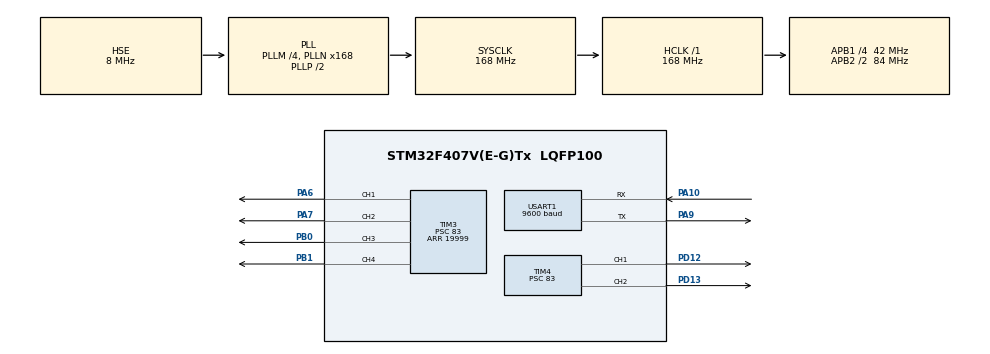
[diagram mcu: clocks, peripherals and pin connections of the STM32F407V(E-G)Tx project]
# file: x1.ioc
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Dma.Request0=USART1_RX
Dma.Request1=USART1_TX
Dma.USART1_RX.0.Direction=DMA_PERIPH_TO_MEMORY
Dma.USART1_RX.0.FIFOMode=DMA_FIFOMODE_DISABLE
Dma.USART1_RX.0.Instance=DMA2_Stream2
Dma.USART1_RX.0.MemDataAlignment=DMA_MDATAALIGN_BYTE
Dma.USART1_RX.0.MemInc=DMA_MINC_ENABLE
Dma.USART1_RX.0.Mode=DMA_CIRCULAR
Dma.USART1_RX.0.PeriphDataAlignment=DMA_PDATAALIGN_BYTE
Dma.USART1_RX.0.PeriphInc=DMA_PINC_DISABLE
Dma.USART1_RX.0.Priority=DMA_PRIORITY_MEDIUM
Dma.USART1_TX.1.Direction=DMA_MEMORY_TO_PERIPH
Dma.USART1_TX.1.FIFOMode=DMA_FIFOMODE_DISABLE
Dma.USART1_TX.1.Instance=DMA2_Stream7
Dma.USART1_TX.1.MemDataAlignment=DMA_MDATAALIGN_BYTE
Dma.USART1_TX.1.MemInc=DMA_MINC_ENABLE
Dma.USART1_TX.1.Mode=DMA_NORMAL
Dma.USART1_TX.1.PeriphDataAlignment=DMA_PDATAALIGN_BYTE
Dma.USART1_TX.1.PeriphInc=DMA_PINC_DISABLE
Dma.USART1_TX.1.Priority=DMA_PRIORITY_LOW
Mcu.Family=STM32F4
Mcu.Name=STM32F407V(E-G)Tx
Mcu.Package=LQFP100
NVIC.DMA2_Stream2_IRQn=true\:0\:0\:false\:false\:true\:false\:true
NVIC.DMA2_Stream7_IRQn=true\:0\:0\:false\:false\:true\:false\:true
NVIC.PriorityGroup=NVIC_PRIORITYGROUP_4
NVIC.USART1_IRQn=true\:0\:0\:false\:false\:true\:true\:true
PA10.Mode=Asynchronous
PA10.Signal=USART1_RX
PA13.Mode=JTAG_5_pins
PA13.Signal=SYS_JTMS-SWDIO
PA14.Mode=JTAG_5_pins
PA14.Signal=SYS_JTCK-SWCLK
PA15.Mode=JTAG_5_pins
PA15.Signal=SYS_JTDI
PA6.Signal=S_TIM3_CH1
PA7.Signal=S_TIM3_CH2
PA9.Mode=Asynchronous
PA9.Signal=USART1_TX
PB0.Signal=S_TIM3_CH3
PB1.Signal=S_TIM3_CH4
PB3.Mode=JTAG_5_pins
PB3.Signal=SYS_JTDO-SWO
PB4.Mode=JTAG_5_pins
PB4.Signal=SYS_JTRST
PD12.Signal=S_TIM4_CH1
PD13.Signal=S_TIM4_CH2
PH0-OSC_IN.Mode=HSE-External-Oscillator
PH0-OSC_IN.Signal=RCC_OSC_IN
PH1-OSC_OUT.Mode=HSE-External-Oscillator
PH1-OSC_OUT.Signal=RCC_OSC_OUT
ProjectManager.HeapSize=0x200
ProjectManager.StackSize=0x400
ProjectManager.TargetToolchain=MDK-ARM V5.27
RCC.48MHZClocksFreq_Value=84000000
RCC.AHBFreq_Value=168000000
RCC.APB1CLKDivider=RCC_HCLK_DIV4
RCC.APB1Freq_Value=42000000
RCC.APB1TimFreq_Value=84000000
RCC.APB2CLKDivider=RCC_HCLK_DIV2
RCC.APB2Freq_Value=84000000
RCC.APB2TimFreq_Value=168000000
RCC.CortexFreq_Value=168000000
RCC.HCLKFreq_Value=168000000
RCC.HSE_VALUE=8000000
RCC.HSI_VALUE=16000000
RCC.LSE_VALUE=32768
RCC.PLLM=4
RCC.PLLN=168
RCC.PLLSourceVirtual=RCC_PLLSOURCE_HSE
RCC.SYSCLKFreq_VALUE=168000000
RCC.SYSCLKSource=RCC_SYSCLKSOURCE_PLLCLK
RCC.VCOOutputFreq_Value=336000000
SH.S_TIM3_CH1.0=TIM3_CH1,PWM Generation1 CH1
SH.S_TIM3_CH2.0=TIM3_CH2,PWM Generation2 CH2
SH.S_TIM3_CH3.0=TIM3_CH3,PWM Generation3 CH3
SH.S_TIM3_CH4.0=TIM3_CH4,PWM Generation4 CH4
SH.S_TIM4_CH1.0=TIM4_CH1,PWM Generation1 CH1
SH.S_TIM4_CH2.0=TIM4_CH2,PWM Generation2 CH2
TIM3.Channel-PWM\ Generation1\ CH1=TIM_CHANNEL_1
TIM3.Channel-PWM\ Generation2\ CH2=TIM_CHANNEL_2
TIM3.Channel-PWM\ Generation3\ CH3=TIM_CHANNEL_3
TIM3.Channel-PWM\ Generation4\ CH4=TIM_CHANNEL_4
TIM3.Period=19999
TIM3.Prescaler=83
TIM4.Channel-PWM\ Generation1\ CH1=TIM_CHANNEL_1
TIM4.Channel-PWM\ Generation2\ CH2=TIM_CHANNEL_2
TIM4.Period=19999
TIM4.Prescaler=83
USART1.BaudRate=9600
USART1.VirtualMode=VM_ASYNC
VP_TIM3_VS_ClockSourceINT.Mode=Internal
VP_TIM4_VS_ClockSourceINT.Mode=Internal
board=custom

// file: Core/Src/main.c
/* USER CODE BEGIN Header */
/**
  ******************************************************************************
  * @file           : main.c
  * @brief          : Main program body
  ******************************************************************************
  * @attention
  *
  * <h2><center>&copy; Copyright (c) 2021 STMicroelectronics.
  * All rights reserved.</center></h2>
  *
  * This software component is licensed by ST under BSD 3-Clause license,
  * the "License"; You may not use this file except in compliance with the
  * License. You may obtain a copy of the License at:
  *                        opensource.org/licenses/BSD-3-Clause
  *
  ******************************************************************************
  */
/* USER CODE END Header */
#include "main.h"
#include "dma.h"
#include "tim.h"
#include "usart.h"
#include "gpio.h"

void SystemClock_Config(void);

int main(void)
{
  /* USER CODE BEGIN 1 */
  uint8_t *str="test uart1 transmit dma!\r\n";
uint8_t *str1="again test uart1 transmit dma!\r\n";
	unsigned char test_buf[400];
	uint16_t datalen=0;
  /* USER CODE END 1 */

  /* MCU Configuration--------------------------------------------------------*/

  /* Reset of all peripherals, Initializes the Flash interface and the Systick. */
  HAL_Init();

  /* Configure the system clock */
  SystemClock_Config();

  /* Initialize all configured peripherals */
  MX_GPIO_Init();
  MX_DMA_Init();
  MX_USART1_UART_Init();
  MX_TIM3_Init();
  MX_TIM4_Init();
  /* USER CODE BEGIN 2 */

		__HAL_UART_ENABLE_IT(&huart1, UART_IT_IDLE);
	 HAL_UART_Receive_DMA(&huart1, (uint8_t*)uart1_rx_buf, USART1_RX_BUF_SIZE);

	HAL_TIM_PWM_Start(&htim3,TIM_CHANNEL_1);
	HAL_TIM_PWM_Start(&htim3,TIM_CHANNEL_2);
	HAL_TIM_PWM_Start(&htim3,TIM_CHANNEL_3);
	HAL_TIM_PWM_Start(&htim3,TIM_CHANNEL_4);
	HAL_TIM_PWM_Start(&htim4,TIM_CHANNEL_1);
	HAL_TIM_PWM_Start(&htim4,TIM_CHANNEL_2);
	__HAL_TIM_SET_COMPARE(&htim3, TIM_CHANNEL_1,0);
	__HAL_TIM_SET_COMPARE(&htim3, TIM_CHANNEL_2,0);
	__HAL_TIM_SET_COMPARE(&htim3, TIM_CHANNEL_3,0);
	__HAL_TIM_SET_COMPARE(&htim3, TIM_CHANNEL_4,0);
	__HAL_TIM_SET_COMPARE(&htim4, TIM_CHANNEL_1,0);
	__HAL_TIM_SET_COMPARE(&htim4, TIM_CHANNEL_2,0);

	int a,b,c;
  /* USER CODE END 2 */

  /* Infinite loop */
  /* USER CODE BEGIN WHILE */
  while (1)
  {
		datalen = uart1_get_data(test_buf,200);
     if((datalen ==11) && test_buf[0]==0x32)
     {
         a=test_buf[1];
			b=test_buf[2];
			 c=a+b*256+500;
			 	__HAL_TIM_SET_COMPARE(&htim3, TIM_CHANNEL_1,c);

			  a=test_buf[3];
			b=test_buf[4];
			 c=a+b*256+500;
			 	__HAL_TIM_SET_COMPARE(&htim3, TIM_CHANNEL_2,c);

			  a=test_buf[5];
			b=test_buf[6];
			 c=a+b*256+500;
			 	__HAL_TIM_SET_COMPARE(&htim3, TIM_CHANNEL_3,c);

			  a=test_buf[7];
			b=test_buf[8];
			 c=a+b*256+500;
			 	__HAL_TIM_SET_COMPARE(&htim3, TIM_CHANNEL_4,c);

				 a=test_buf[9];
			b=test_buf[10];
			 c=a+b*256+500;
			 	__HAL_TIM_SET_COMPARE(&htim4, TIM_CHANNEL_1,c);
     }
    /* USER CODE END WHILE */

  }
}

void SystemClock_Config(void)
{
  RCC_OscInitTypeDef RCC_OscInitStruct = {0};
  RCC_ClkInitTypeDef RCC_ClkInitStruct = {0};

  /** Configure the main internal regulator output voltage
  */
  __HAL_RCC_PWR_CLK_ENABLE();
  __HAL_PWR_VOLTAGESCALING_CONFIG(PWR_REGULATOR_VOLTAGE_SCALE1);
  /** Initializes the RCC Oscillators according to the specified parameters
  * in the RCC_OscInitTypeDef structure.
  */
  RCC_OscInitStruct.OscillatorType = RCC_OSCILLATORTYPE_HSE;
  RCC_OscInitStruct.HSEState = RCC_HSE_ON;
  RCC_OscInitStruct.PLL.PLLState = RCC_PLL_ON;
  RCC_OscInitStruct.PLL.PLLSource = RCC_PLLSOURCE_HSE;
  RCC_OscInitStruct.PLL.PLLM = 4;
  RCC_OscInitStruct.PLL.PLLN = 168;
  RCC_OscInitStruct.PLL.PLLP = RCC_PLLP_DIV2;
  RCC_OscInitStruct.PLL.PLLQ = 4;
  if (HAL_RCC_OscConfig(&RCC_OscInitStruct) != HAL_OK)
  {
    Error_Handler();
  }
  /** Initializes the CPU, AHB and APB buses clocks
  */
  RCC_ClkInitStruct.ClockType = RCC_CLOCKTYPE_HCLK|RCC_CLOCKTYPE_SYSCLK
                              |RCC_CLOCKTYPE_PCLK1|RCC_CLOCKTYPE_PCLK2;
  RCC_ClkInitStruct.SYSCLKSource = RCC_SYSCLKSOURCE_PLLCLK;
  RCC_ClkInitStruct.AHBCLKDivider = RCC_SYSCLK_DIV1;
  RCC_ClkInitStruct.APB1CLKDivider = RCC_HCLK_DIV4;
  RCC_ClkInitStruct.APB2CLKDivider = RCC_HCLK_DIV2;

  if (HAL_RCC_ClockConfig(&RCC_ClkInitStruct, FLASH_LATENCY_5) != HAL_OK)
  {
    Error_Handler();
  }
}

void Error_Handler(void)
{
  __disable_irq();
  while (1)
  {
  }
}

/************************ (C) COPYRIGHT STMicroelectronics *****END OF FILE****/
